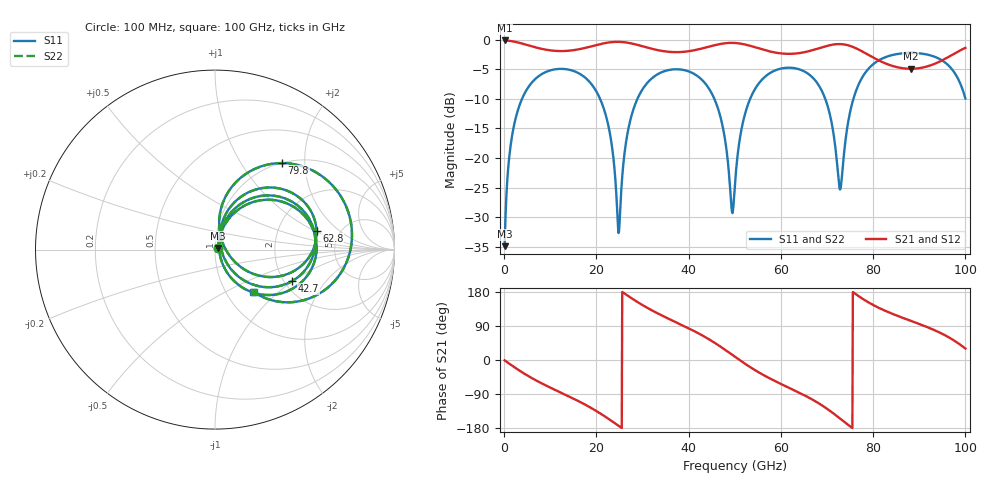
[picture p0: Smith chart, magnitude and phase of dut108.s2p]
! Touchstone file exported from HFSS 2026.1.0
!  File:  C:/ffzhzh/LocalFiles/Ansys_Project_Files/temp_train_TSV_RDL_108_1783457072_34316.aedt
!  Generated:  04:54:54 AM Jul  8, 2026
!  Design:  TSV_RDL
!  Project:  temp_train_TSV_RDL_108_1783457072_34316
! Variables:
!  h_bsmrdl = 4.2um
!  h_ox = 20um
!  h_rdl = 5um
!  h_sub = 69.3um
!  h_tmrdl = 3.28um
!  h_tsv = 69.3um
!  h_via = 3um
!  l_bsmrdl = 255.94um
!  l_sub = 2326.21um
!  l_tmrdl = 268.47um
!  m_sub = 200um
!  pitch = 42.25um
!  r_tsv = 6.43um
!  s_tmrdl = 10um
!  w_bsmrdl = 15.39um
!  w_sub = 500um
!  w_tmrdl = 12.78um
!  x_tsv_center1 = 274.86um
!  x_tsv_center2 = 546.19um
!  x_tsv_center3 = 827.44um
!  x_tsv_center4 = 1098.77um
!  x_tsv_center5 = 1380.02um
!  x_tsv_center6 = 1651.35um
# GHz S MA R 50.000000
! Terminal data exported
! Port[1] = TM_RDL1_1_T1
! Port[2] = TM_RDL5_1_T1
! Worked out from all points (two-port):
!   1000 points, 100 MHz to 100 GHz, reference 50 ohm
!   highest |S21| = -0.13 dB at 100 MHz (marker M1); lowest = -4.9 dB at 88.1 GHz (marker M2)
!   |S21| within 3 dB of the highest: start of sweep to 80.3 GHz; 95.84 GHz to end of sweep
!   lowest |S11| = -34.9 dB at 100 MHz (marker M3), VSWR 1.04, Z = 51.5 + j0.961 ohm
!   |S11| at or under -10 dB: 20.79 GHz to 28.9 GHz (8.109 GHz wide, 32.6 % of centre); 45.57 GHz to 53.34 GHz (7.767 GHz wide, 15.7 % of centre); 69.61 GHz to 75.72 GHz (6.113 GHz wide, 8.41 % of centre)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
!   |S22| runs from -34.9 to -2.2 dB; largest |S21 - S12| = 1.3e-13
!   S11 on the Smith chart (normalised r, x): 100 MHz: 1.03, +0.02; 42.7 GHz: 2.21, -0.99; 62.8 GHz: 3.35, +1.06; 79.8 GHz: 1.00, +1.54; 100 GHz: 1.34, -0.70
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0.1  0.01795 31.3  0.9848 -0.9  0.9848 -0.9  0.01795 31.3
! Gamma 0 0 0 0
! Port Impedance 50 0 50 0
1.6  0.144 68.8  0.9714 -13.9  0.9714 -13.9  0.144 68.8
4.3  0.343 50.9  0.9179 -35.5  0.9179 -35.5  0.343 50.9
16.8  0.5027 -23.2  0.8388 -112.8  0.8388 -112.8  0.5027 -23.2
22.1  0.2252 -57.1  0.9388 -151.0  0.9388 -151.0  0.2252 -57.1
24.8  0.02319 -1.7  0.9585 -173.6  0.9585 -173.6  0.02317 -1.6
27.7  0.2342 65.8  0.9275 162.4  0.9275 162.4  0.2342 65.9
33.4  0.5134 30.1  0.8143 122.3  0.8143 122.3  0.5134 30.1
42.7  0.4648 -22.1  0.8388 66.6  0.8388 66.6  0.4649 -22.1
46.9  0.2217 -47.7  0.92 35.3  0.92 35.3  0.2218 -47.5
49.4  0.0349 0.6  0.9396 14.1  0.9396 14.1  0.03572 0.9
50.1  0.06444 65.1  0.9372 8.0  0.9372 8.0  0.06492 64.5
54  0.3592 60.8  0.872 -23.9  0.872 -23.9  0.3593 60.7
62.8  0.5755 10.6  0.7612 -79.3  0.7612 -79.3  0.5756 10.5
66.7  0.4858 -11.1  0.8121 -103.5  0.8121 -103.5  0.4859 -11.2
70.3  0.2606 -31.9  0.8924 -131.2  0.8924 -131.2  0.2607 -32.0
72.8  0.05409 20.2  0.9174 -154.2  0.9174 -154.2  0.05416 20.1
75.6  0.3042 78.6  0.8682 179.4  0.8682 179.4  0.3041 78.5
79.8  0.6103 52.2  0.7141 146.5  0.7141 146.5  0.6102 52.2
83.4  0.7278 33.4  0.6141 125.7  0.6141 125.7  0.7278 33.3
88.1  0.7723 13.1  0.5673 103.6  0.5673 103.6  0.7723 13.1
100  0.3183 -47.7  0.8523 30.2  0.8523 30.2  0.3185 -47.6
